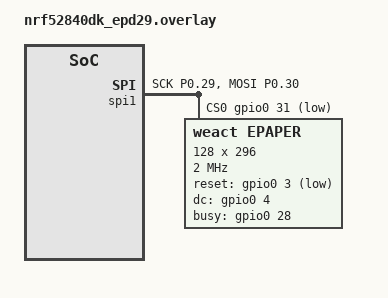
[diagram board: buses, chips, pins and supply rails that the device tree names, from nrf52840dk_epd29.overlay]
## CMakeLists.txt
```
# WeAct 2.9" E-Paper Test - nRF52840-DK
cmake_minimum_required(VERSION 3.20.0)

# Add driver to build
set(DRIVER_DIR ${CMAKE_CURRENT_SOURCE_DIR}/../../driver)

# Add custom device tree bindings path
list(APPEND DTS_ROOT ${CMAKE_CURRENT_SOURCE_DIR}/../..)

find_package(Zephyr REQUIRED HINTS $ENV{ZEPHYR_BASE})
project(epaper_29_nrf52840)

# Include driver headers
target_include_directories(app PRIVATE ${DRIVER_DIR}/include)

# Build driver sources
target_sources(app PRIVATE
    # Application
    src/main.c
    # Driver sources
    ${DRIVER_DIR}/src/weact_epaper.c
    ${DRIVER_DIR}/src/weact_epaper_paint.c
    ${DRIVER_DIR}/src/weact_epaper_font.c
)
```

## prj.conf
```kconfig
# WeAct 2.9" E-Paper Configuration

# Enable required drivers
CONFIG_SPI=y
CONFIG_GPIO=y

# Logging
CONFIG_LOG=y
CONFIG_LOG_MODE_IMMEDIATE=y
CONFIG_PRINTK=y
CONFIG_EARLY_CONSOLE=y

# Memory settings
CONFIG_MAIN_STACK_SIZE=8192
CONFIG_HEAP_MEM_POOL_SIZE=16384

# Optional: Enable debug logging
# CONFIG_LOG_DEFAULT_LEVEL=4

# SPI Configuration
CONFIG_SPI_INIT_PRIORITY=70
```

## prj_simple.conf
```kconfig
# Minimal configuration for e-paper reset test

# Enable SPI
CONFIG_SPI=y

# Enable GPIO
CONFIG_GPIO=y

# Enable logging
CONFIG_LOG=y
CONFIG_LOG_DEFAULT_LEVEL=3

# Stack sizes
CONFIG_MAIN_STACK_SIZE=4096
```

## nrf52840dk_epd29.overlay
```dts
/*
 * Copyright (c) 2025 WeAct Studio
 * SPDX-License-Identifier: Apache-2.0
 *
 * nRF52840-DK + WeAct 2.9" E-Paper Display (128x296)
 */

&pinctrl {
	spi1_default: spi1_default {
		group1 {
			psels = <NRF_PSEL(SPIM_SCK, 0, 29)>,
				<NRF_PSEL(SPIM_MOSI, 0, 30)>;
		};
	};

	spi1_sleep: spi1_sleep {
		group1 {
			psels = <NRF_PSEL(SPIM_SCK, 0, 29)>,
				<NRF_PSEL(SPIM_MOSI, 0, 30)>;
			low-power-enable;
		};
	};
};

&spi1 {
	compatible = "nordic,nrf-spim";
	status = "okay";
	pinctrl-0 = <&spi1_default>;
	pinctrl-1 = <&spi1_sleep>;
	pinctrl-names = "default", "sleep";
	cs-gpios = <&gpio0 31 GPIO_ACTIVE_LOW>;

	epaper: epaper@0 {
		compatible = "weact,epaper";
		reg = <0>;
		spi-max-frequency = <2000000>;
		reset-gpios = <&gpio0 3 GPIO_ACTIVE_LOW>;
		dc-gpios = <&gpio0 4 GPIO_ACTIVE_HIGH>;
		busy-gpios = <&gpio0 28 GPIO_ACTIVE_HIGH>;
		width = <128>;
		height = <296>;
		panel-type = <0>; /* EPD213_219 also supports 2.9" */
		color-mode = "bw";
	};
};
```

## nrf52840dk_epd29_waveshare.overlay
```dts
/*
 * Copyright (c) 2025 WeAct Studio
 * SPDX-License-Identifier: Apache-2.0
 *
 * nRF52840-DK + Waveshare E-Paper Shield (2.9" 128x296)
 * Using Arduino header pinout
 */

&pinctrl {
	spi1_default: spi1_default {
		group1 {
			psels = <NRF_PSEL(SPIM_SCK, 1, 15)>,   /* Arduino D13 */
				<NRF_PSEL(SPIM_MOSI, 1, 13)>,  /* Arduino D11 */
				<NRF_PSEL(SPIM_MISO, 1, 14)>;  /* Arduino D12 */
		};
	};

	spi1_sleep: spi1_sleep {
		group1 {
			psels = <NRF_PSEL(SPIM_SCK, 1, 15)>,
				<NRF_PSEL(SPIM_MOSI, 1, 13)>,
				<NRF_PSEL(SPIM_MISO, 1, 14)>;
			low-power-enable;
		};
	};
};

&spi1 {
	compatible = "nordic,nrf-spim";
	status = "okay";
	pinctrl-0 = <&spi1_default>;
	pinctrl-1 = <&spi1_sleep>;
	pinctrl-names = "default", "sleep";
	cs-gpios = <&gpio1 12 GPIO_ACTIVE_LOW>;  /* Arduino D10 */

	epaper: epaper@0 {
		compatible = "weact,epaper";
		reg = <0>;
		spi-max-frequency = <2000000>;
		reset-gpios = <&gpio1 10 GPIO_ACTIVE_LOW>;   /* Arduino D8 */
		dc-gpios = <&gpio1 11 GPIO_ACTIVE_HIGH>;     /* Arduino D9 */
		busy-gpios = <&gpio1 8 GPIO_ACTIVE_HIGH>;    /* Arduino D7 */
		width = <128>;
		height = <296>;
		panel-type = <0>; /* EPD213_219 - also supports 2.9" */
		color-mode = "bw";
	};
};
```

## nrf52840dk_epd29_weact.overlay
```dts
/*
 * Copyright (c) 2025 WeAct Studio
 * SPDX-License-Identifier: Apache-2.0
 *
 * nRF52840-DK + WeAct Studio 2.9" E-Paper Display (128x296)
 * Pin mapping for WeAct Studio display
 */

&pinctrl {
	spi1_default: spi1_default {
		group1 {
			psels = <NRF_PSEL(SPIM_SCK, 1, 15)>,   /* SCL - P1.15 */
				<NRF_PSEL(SPIM_MOSI, 1, 13)>,  /* SDA - P1.13 */
				<NRF_PSEL(SPIM_MISO, 1, 14)>;  /* MISO - P1.14 (not used) */
		};
	};

	spi1_sleep: spi1_sleep {
		group1 {
			psels = <NRF_PSEL(SPIM_SCK, 1, 15)>,
				<NRF_PSEL(SPIM_MOSI, 1, 13)>,
				<NRF_PSEL(SPIM_MISO, 1, 14)>;
			low-power-enable;
		};
	};
};

&spi1 {
	compatible = "nordic,nrf-spim";
	status = "okay";
	pinctrl-0 = <&spi1_default>;
	pinctrl-1 = <&spi1_sleep>;
	pinctrl-names = "default", "sleep";
	cs-gpios = <&gpio1 12 GPIO_ACTIVE_LOW>;  /* CS - P1.12 */

	epaper: epaper@0 {
		compatible = "weact,epaper";
		reg = <0>;
		spi-max-frequency = <2000000>;
		reset-gpios = <&gpio1 11 GPIO_ACTIVE_LOW>;   /* RES - P1.11 */
		dc-gpios = <&gpio1 10 GPIO_ACTIVE_HIGH>;     /* DC - P1.10 */
		busy-gpios = <&gpio1 8 GPIO_ACTIVE_HIGH>;    /* BUSY - P1.08 */
		width = <128>;
		height = <296>;
		panel-type = <0>; /* EPD213_219 - also supports 2.9" */
		color-mode = "bw";
	};
};
```

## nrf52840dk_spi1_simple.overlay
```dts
/*
 * Minimal SPI1 configuration for e-paper test
 * Just enables SPI1 on P1.x pins
 */

&pinctrl {
	spi1_default: spi1_default {
		group1 {
			psels = <NRF_PSEL(SPIM_SCK, 1, 15)>,   /* SCL - P1.15 */
				<NRF_PSEL(SPIM_MOSI, 1, 13)>;  /* SDA - P1.13 */
		};
	};

	spi1_sleep: spi1_sleep {
		group1 {
			psels = <NRF_PSEL(SPIM_SCK, 1, 15)>,
				<NRF_PSEL(SPIM_MOSI, 1, 13)>;
			low-power-enable;
		};
	};
};

&spi1 {
	compatible = "nordic,nrf-spim";
	status = "okay";
	pinctrl-0 = <&spi1_default>;
	pinctrl-1 = <&spi1_sleep>;
	pinctrl-names = "default", "sleep";
};
```

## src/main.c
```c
/*
 * WeAct Studio E-Paper Text Display Demo
 * Based on working Arduino port with corrected BUSY pin logic
 *
 * Display: 2.9" 3-Color (128x296 pixels, Black/White/Red)
 * Controller: UC8151D
 *
 * Supports dual RAM architecture:
 * - Register 0x24: Black/White RAM
 * - Register 0x26: Red RAM (inverted data to clear red pixels)
 */

#include <zephyr/kernel.h>
#include <zephyr/device.h>
#include <zephyr/drivers/gpio.h>
#include <zephyr/drivers/spi.h>
#include <zephyr/logging/log.h>
#include <string.h>

LOG_MODULE_REGISTER(epaper_text, LOG_LEVEL_DBG);

/* Pin Definitions - nRF52840-DK with WeAct Studio pins */
#define SPI1_NODE DT_NODELABEL(spi1)
#define RST_PIN  11  // P1.11
#define DC_PIN   10  // P1.10
#define CS_PIN   12  // P1.12
#define BUSY_PIN  8  // P1.08 - HIGH=busy, LOW=ready

/* Display dimensions for 2.9" */
#define EPD_WIDTH  128
#define EPD_HEIGHT 296

/* Frame buffer */
static uint8_t framebuffer[EPD_WIDTH * EPD_HEIGHT / 8];

/* Device handles */
static const struct device *spi_dev;
static const struct device *gpio1;
static struct spi_config spi_cfg;

/* Simple 5x7 ASCII font (characters 32-126) */
static const uint8_t font5x7[][5] = {
    {0x00, 0x00, 0x00, 0x00, 0x00}, // Space (32)
    {0x00, 0x00, 0x5F, 0x00, 0x00}, // !
    {0x00, 0x07, 0x00, 0x07, 0x00}, // "
    {0x14, 0x7F, 0x14, 0x7F, 0x14}, // #
    {0x24, 0x2A, 0x7F, 0x2A, 0x12}, // $
    {0x23, 0x13, 0x08, 0x64, 0x62}, // %
    {0x36, 0x49, 0x56, 0x20, 0x50}, // &
    {0x00, 0x08, 0x07, 0x03, 0x00}, // '
    {0x00, 0x1C, 0x22, 0x41, 0x00}, // (
    {0x00, 0x41, 0x22, 0x1C, 0x00}, // )
    {0x2A, 0x1C, 0x7F, 0x1C, 0x2A}, // *
    {0x08, 0x08, 0x3E, 0x08, 0x08}, // +
    {0x00, 0x80, 0x70, 0x30, 0x00}, // ,
    {0x08, 0x08, 0x08, 0x08, 0x08}, // -
    {0x00, 0x00, 0x60, 0x60, 0x00}, // .
    {0x20, 0x10, 0x08, 0x04, 0x02}, // /
    {0x3E, 0x51, 0x49, 0x45, 0x3E}, // 0
    {0x00, 0x42, 0x7F, 0x40, 0x00}, // 1
    {0x72, 0x49, 0x49, 0x49, 0x46}, // 2
    {0x21, 0x41, 0x49, 0x4D, 0x33}, // 3
    {0x18, 0x14, 0x12, 0x7F, 0x10}, // 4
    {0x27, 0x45, 0x45, 0x45, 0x39}, // 5
    {0x3C, 0x4A, 0x49, 0x49, 0x31}, // 6
    {0x41, 0x21, 0x11, 0x09, 0x07}, // 7
    {0x36, 0x49, 0x49, 0x49, 0x36}, // 8
    {0x46, 0x49, 0x49, 0x29, 0x1E}, // 9
    {0x00, 0x00, 0x14, 0x00, 0x00}, // :
    {0x00, 0x40, 0x34, 0x00, 0x00}, // ;
    {0x00, 0x08, 0x14, 0x22, 0x41}, // <
    {0x14, 0x14, 0x14, 0x14, 0x14}, // =
    {0x00, 0x41, 0x22, 0x14, 0x08}, // >
    {0x02, 0x01, 0x59, 0x09, 0x06}, // ?
    {0x3E, 0x41, 0x5D, 0x59, 0x4E}, // @
    {0x7C, 0x12, 0x11, 0x12, 0x7C}, // A
    {0x7F, 0x49, 0x49, 0x49, 0x36}, // B
    {0x3E, 0x41, 0x41, 0x41, 0x22}, // C
    {0x7F, 0x41, 0x41, 0x41, 0x3E}, // D
    {0x7F, 0x49, 0x49, 0x49, 0x41}, // E
    {0x7F, 0x09, 0x09, 0x09, 0x01}, // F
    {0x3E, 0x41, 0x41, 0x51, 0x73}, // G
    {0x7F, 0x08, 0x08, 0x08, 0x7F}, // H
    {0x00, 0x41, 0x7F, 0x41, 0x00}, // I
    {0x20, 0x40, 0x41, 0x3F, 0x01}, // J
    {0x7F, 0x08, 0x14, 0x22, 0x41}, // K
    {0x7F, 0x40, 0x40, 0x40, 0x40}, // L
    {0x7F, 0x02, 0x1C, 0x02, 0x7F}, // M
    {0x7F, 0x04, 0x08, 0x10, 0x7F}, // N
    {0x3E, 0x41, 0x41, 0x41, 0x3E}, // O
    {0x7F, 0x09, 0x09, 0x09, 0x06}, // P
    {0x3E, 0x41, 0x51, 0x21, 0x5E}, // Q
    {0x7F, 0x09, 0x19, 0x29, 0x46}, // R
    {0x26, 0x49, 0x49, 0x49, 0x32}, // S
    {0x03, 0x01, 0x7F, 0x01, 0x03}, // T
    {0x3F, 0x40, 0x40, 0x40, 0x3F}, // U
    {0x1F, 0x20, 0x40, 0x20, 0x1F}, // V
    {0x3F, 0x40, 0x38, 0x40, 0x3F}, // W
    {0x63, 0x14, 0x08, 0x14, 0x63}, // X
    {0x03, 0x04, 0x78, 0x04, 0x03}, // Y
    {0x61, 0x59, 0x49, 0x4D, 0x43}, // Z
    {0x00, 0x7F, 0x41, 0x41, 0x41}, // [
    {0x02, 0x04, 0x08, 0x10, 0x20}, // backslash
    {0x00, 0x41, 0x41, 0x41, 0x7F}, // ]
    {0x04, 0x02, 0x01, 0x02, 0x04}, // ^
    {0x40, 0x40, 0x40, 0x40, 0x40}, // _
};

/* Hardware control functions */
void write_cmd(uint8_t cmd)
{
    gpio_pin_set(gpio1, DC_PIN, 0);  // Command mode
    struct spi_buf tx_buf = {.buf = &cmd, .len = 1};
    struct spi_buf_set tx = {.buffers = &tx_buf, .count = 1};
    spi_write(spi_dev, &spi_cfg, &tx);
}

void write_data(uint8_t data)
{
    gpio_pin_set(gpio1, DC_PIN, 1);  // Data mode
    struct spi_buf tx_buf = {.buf = &data, .len = 1};
    struct spi_buf_set tx = {.buffers = &tx_buf, .count = 1};
    spi_write(spi_dev, &spi_cfg, &tx);
}

void write_data_buf(const uint8_t *data, size_t len)
{
    gpio_pin_set(gpio1, DC_PIN, 1);  // Data mode
    struct spi_buf tx_buf = {.buf = (void*)data, .len = len};
    struct spi_buf_set tx = {.buffers = &tx_buf, .count = 1};
    spi_write(spi_dev, &spi_cfg, &tx);
}

/* Wait for BUSY pin: HIGH=busy, LOW=ready */
bool wait_busy(uint32_t timeout_ms)
{
    uint32_t count = 0;
    /* Wait while BUSY is HIGH */
    while (gpio_pin_get(gpio1, BUSY_PIN) == 1) {
        k_msleep(10);
        count += 10;
        if (count > timeout_ms) {
            LOG_ERR("BUSY timeout after %d ms", count);
            return false;
        }
    }
    LOG_DBG("BUSY cleared after %d ms", count);
    return true;
}

void reset_display(void)
{
    LOG_INF("Resetting display...");
    gpio_pin_set(gpio1, RST_PIN, 1);
    k_msleep(20);
    gpio_pin_set(gpio1, RST_PIN, 0);
    k_msleep(2);
    gpio_pin_set(gpio1, RST_PIN, 1);
    k_msleep(20);
}

/* Initialize display - Full WeAct Studio sequence for 2.9" */
bool init_display(void)
{
    LOG_INF("Initializing WeAct Studio 2.9\" display...");

    reset_display();

    /* NOTE: Don't wait for BUSY here - display may not assert BUSY until
     * we send the first command via SPI */

    /* Software reset */
    write_cmd(0x12);
    k_msleep(10);
    LOG_INF("Waiting for display after software reset...");
    if (!wait_busy(5000)) {
        LOG_ERR("Display not ready after software reset");
        return false;
    }

    /* Driver output control - 296 lines for 2.9" */
    write_cmd(0x01);
    write_data((296 - 1) & 0xFF);       // MUX low
    write_data(((296 - 1) >> 8) & 0xFF); // MUX high
    write_data(0x00);                    // GD=0, SM=0, TB=0

    /* Booster Soft Start */
    write_cmd(0x0C);
    write_data(0xD7);
    write_data(0xD6);
    write_data(0x9D);

    /* VCOM register */
    write_cmd(0x2C);
    write_data(0xA8);

    /* Set dummy line period */
    write_cmd(0x3A);
    write_data(0x1A);

    /* Set gate time */
    write_cmd(0x3B);
    write_data(0x08);

    /* Data entry mode: X increment, Y increment */
    write_cmd(0x11);
    write_data(0x03);

    /* Set RAM X start/end */
    write_cmd(0x44);
    write_data(0x00);               // X start = 0
    write_data((EPD_WIDTH / 8) - 1); // X end

    /* Set RAM Y start/end */
    write_cmd(0x45);
    write_data(0x00);               // Y start low
    write_data(0x00);               // Y start high
    write_data((EPD_HEIGHT - 1) & 0xFF);      // Y end low
    write_data(((EPD_HEIGHT - 1) >> 8) & 0xFF); // Y end high

    /* Border waveform */
    write_cmd(0x3C);
    write_data(0x03);

    /* Temperature sensor control */
    write_cmd(0x18);
    write_data(0x80);

    /* Display update control */
    write_cmd(0x22);
    write_data(0xB1);
    write_cmd(0x20);
    if (!wait_busy(5000)) return false;

    /* Set RAM X counter */
    write_cmd(0x4E);
    write_data(0x00);

    /* Set RAM Y counter */
    write_cmd(0x4F);
    write_data(0x00);
    write_data(0x00);

    if (!wait_busy(5000)) return false;

    LOG_INF("✓ Display initialized successfully");
    return true;
}

/* Graphics functions */
void clear_buffer(uint8_t color)
{
    memset(framebuffer, color, sizeof(framebuffer));
}

void set_pixel(int x, int y, uint8_t color)
{
    if (x < 0 || x >= EPD_WIDTH || y < 0 || y >= EPD_HEIGHT) {
        return;
    }

    int byte_index = (y * EPD_WIDTH + x) / 8;
    int bit_index = 7 - (x % 8);

    if (color) {
        framebuffer[byte_index] |= (1 << bit_index);  // Black
    } else {
        framebuffer[byte_index] &= ~(1 << bit_index); // White
    }
}

/* Draw a character at position (x, y) */
void draw_char(int x, int y, char c, uint8_t color, uint8_t size)
{
    if (c < 32 || c > 95) {
        c = 32; // Replace invalid chars with space
    }

    const uint8_t *glyph = font5x7[c - 32];

    for (int col = 0; col < 5; col++) {
        uint8_t line = glyph[col];
        for (int row = 0; row < 7; row++) {
            if (line & (1 << row)) {
                // Draw pixel(s) based on size
                for (int sx = 0; sx < size; sx++) {
                    for (int sy = 0; sy < size; sy++) {
                        set_pixel(x + col * size + sx, y + row * size + sy, color);
                    }
                }
            }
        }
    }
}

/* Draw a string at position (x, y) */
void draw_string(int x, int y, const char *str, uint8_t color, uint8_t size)
{
    int cursor_x = x;
    int cursor_y = y;

    while (*str) {
        if (*str == '\n') {
            cursor_y += 8 * size;
            cursor_x = x;
        } else {
            draw_char(cursor_x, cursor_y, *str, color, size);
            cursor_x += 6 * size;  // 5 pixels + 1 space

            // Wrap to next line if needed
            if (cursor_x + 6 * size > EPD_WIDTH) {
                cursor_y += 8 * size;
                cursor_x = x;
            }
        }
        str++;
    }
}

/* Draw a rectangle */
void draw_rect(int x, int y, int w, int h, uint8_t color)
{
    for (int i = 0; i < w; i++) {
        set_pixel(x + i, y, color);
        set_pixel(x + i, y + h - 1, color);
    }
    for (int i = 0; i < h; i++) {
        set_pixel(x, y + i, color);
        set_pixel(x + w - 1, y + i, color);
    }
}

/* Fill a rectangle */
void fill_rect(int x, int y, int w, int h, uint8_t color)
{
    for (int j = 0; j < h; j++) {
        for (int i = 0; i < w; i++) {
            set_pixel(x + i, y + j, color);
        }
    }
}

/* Update display with framebuffer contents */
bool update_display(void)
{
    LOG_INF("Updating display...");

    /* Set RAM X counter */
    write_cmd(0x4E);
    write_data(0x00);

    /* Set RAM Y counter */
    write_cmd(0x4F);
    write_data(0x00);
    write_data(0x00);

    /* Write RAM (black/white) */
    write_cmd(0x24);
    write_data_buf(framebuffer, sizeof(framebuffer));

    /* Reset RAM position for red channel */
    write_cmd(0x4E);
    write_data(0x00);

    write_cmd(0x4F);
    write_data(0x00);
    write_data(0x00);

    /* Write RAM (red) - Clear all red pixels for text display */
    write_cmd(0x26);
    /* For 3-color display: Write inverted framebuffer to clear red channel */
    gpio_pin_set(gpio1, DC_PIN, 1);  // Data mode
    for (size_t i = 0; i < sizeof(framebuffer); i++) {
        uint8_t inverted = ~framebuffer[i];
        struct spi_buf tx_buf = {.buf = &inverted, .len = 1};
        struct spi_buf_set tx = {.buffers = &tx_buf, .count = 1};
        spi_write(spi_dev, &spi_cfg, &tx);
    }

    /* Display update sequence */
    write_cmd(0x22);
    write_data(0xF7);
    write_cmd(0x20);

    if (!wait_busy(10000)) {
        LOG_ERR("Display update timeout");
        return false;
    }

    LOG_INF("✓ Display updated successfully!");
    return true;
}

/* Enter deep sleep mode */
void sleep_display(void)
{
    write_cmd(0x10);
    write_data(0x01);
    k_msleep(100);
}

int main(void)
{
    LOG_INF("═══════════════════════════════════════");
    LOG_INF("  WeAct Studio E-Paper Text Demo");
    LOG_INF("  2.9\" Display (128x296 pixels)");
    LOG_INF("═══════════════════════════════════════");

    /* Initialize GPIO */
    gpio1 = DEVICE_DT_GET(DT_NODELABEL(gpio1));
    if (!device_is_ready(gpio1)) {
        LOG_ERR("GPIO1 device not ready");
        return -1;
    }

    gpio_pin_configure(gpio1, RST_PIN, GPIO_OUTPUT_ACTIVE);
    gpio_pin_configure(gpio1, DC_PIN, GPIO_OUTPUT_INACTIVE);
    gpio_pin_configure(gpio1, CS_PIN, GPIO_OUTPUT_INACTIVE);
    gpio_pin_configure(gpio1, BUSY_PIN, GPIO_INPUT);

    /* Initialize SPI */
    spi_dev = DEVICE_DT_GET(DT_NODELABEL(spi1));
    if (!device_is_ready(spi_dev)) {
        LOG_ERR("SPI device not ready");
        return -1;
    }

    spi_cfg.frequency = 2000000;  // 2 MHz
    spi_cfg.operation = SPI_OP_MODE_MASTER | SPI_TRANSFER_MSB |
                        SPI_WORD_SET(8) | SPI_LINES_SINGLE;

    LOG_INF("Hardware initialized");

    /* Initialize display */
    if (!init_display()) {
        LOG_ERR("Display initialization failed!");
        return -1;
    }

    /* Test 1: Simple text */
    LOG_INF("\n--- Test 1: Simple text ---");
    clear_buffer(0xFF);  // White background
    draw_string(10, 10, "Hello World!", 0, 1);  // Black text, size 1
    draw_string(10, 25, "WeAct Studio", 0, 1);
    draw_string(10, 40, "E-Paper 2.9\"", 0, 1);
    update_display();
    k_msleep(3000);

    /* Test 2: Different sizes */
    LOG_INF("\n--- Test 2: Text sizes ---");
    clear_buffer(0xFF);
    draw_string(5, 10, "Size 1", 0, 1);
    draw_string(5, 30, "Size 2", 0, 2);
    draw_string(5, 60, "Size 3", 0, 3);
    update_display();
    k_msleep(3000);

    /* Test 3: Mixed content */
    LOG_INF("\n--- Test 3: Mixed graphics ---");
    clear_buffer(0xFF);

    // Title
    draw_string(15, 10, "Zephyr RTOS", 0, 2);

    // Box
    draw_rect(10, 45, 108, 60, 0);

    // Info text
    draw_string(15, 50, "nRF52840-DK", 0, 1);
    draw_string(15, 65, "UC8151D", 0, 1);
    draw_string(15, 80, "128 x 296", 0, 1);
    draw_string(15, 95, "2.9 inch", 0, 1);

    // Status
    fill_rect(10, 120, 108, 20, 0);
    draw_string(15, 125, "READY", 1, 2);  // White text on black

    update_display();
    k_msleep(5000);

    /* Test 4: Counter demo */
    LOG_INF("\n--- Test 4: Counter ---");
    for (int i = 0; i <= 10; i++) {
        clear_buffer(0xFF);
        draw_string(20, 50, "Counter:", 0, 2);

        char num[16];
        snprintf(num, sizeof(num), "%d", i);
        draw_string(40, 80, num, 0, 3);

        update_display();
        k_msleep(1000);
    }

    /* Test 5: Full alphabet */
    LOG_INF("\n--- Test 5: Alphabet ---");
    clear_buffer(0xFF);
    draw_string(5, 5, "ABCDEFGHIJKLM", 0, 1);
    draw_string(5, 15, "NOPQRSTUVWXYZ", 0, 1);
    draw_string(5, 30, "abcdefghijklm", 0, 1);
    draw_string(5, 40, "nopqrstuvwxyz", 0, 1);
    draw_string(5, 55, "0123456789", 0, 1);
    draw_string(5, 70, "!@#$%^&*()", 0, 1);
    update_display();
    k_msleep(5000);

    /* Sleep display */
    LOG_INF("\nEntering deep sleep...");
    sleep_display();

    LOG_INF("\n═══════════════════════════════════════");
    LOG_INF("  ALL TEXT TESTS COMPLETE!");
    LOG_INF("═══════════════════════════════════════");

    return 0;
}
```

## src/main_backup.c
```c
/*
 * WeAct 2.9" E-Paper Display Test for nRF52840-DK
 * Display: 128x296 pixels, Black & White
 */

#include <zephyr/kernel.h>
#include <zephyr/device.h>
#include <zephyr/logging/log.h>
#include <string.h>
#include "weact_epaper.h"

LOG_MODULE_REGISTER(epaper_test, LOG_LEVEL_INF);

#define EPAPER_NODE DT_NODELABEL(epaper)
#define DISPLAY_WIDTH  128
#define DISPLAY_HEIGHT 296
#define WIDTH_BYTE     ((DISPLAY_WIDTH % 8 == 0) ? (DISPLAY_WIDTH / 8) : (DISPLAY_WIDTH / 8 + 1))
#define BUFFER_SIZE    (WIDTH_BYTE * DISPLAY_HEIGHT)

static const struct device *epaper_dev = DEVICE_DT_GET(EPAPER_NODE);
static uint8_t display_buffer[BUFFER_SIZE];

void test_display_info(void)
{
	LOG_INF("========================================");
	LOG_INF("WeAct 2.9\" E-Paper Display Test");
	LOG_INF("========================================");
	LOG_INF("Board: nRF52840-DK");
	LOG_INF("Display: 128x296 pixels");
	LOG_INF("Buffer size: %d bytes", BUFFER_SIZE);
	LOG_INF("========================================\n");
}

void test_clear_display(void)
{
	LOG_INF("[TEST 1] Clearing display to WHITE...");
	epd_clear(epaper_dev, EPD_COLOR_WHITE);
	LOG_INF("✓ Display cleared\n");
	k_sleep(K_SECONDS(2));
}

void test_draw_border(void)
{
	LOG_INF("[TEST 2] Drawing border...");

	epd_paint_newimage(epaper_dev, display_buffer, DISPLAY_WIDTH, DISPLAY_HEIGHT,
	                   EPD_ROTATE_0, EPD_COLOR_WHITE);
	epd_paint_clear(epaper_dev, EPD_COLOR_WHITE);

	/* Draw border rectangle */
	epd_paint_draw_rectangle(epaper_dev, 0, 0, DISPLAY_WIDTH-1, DISPLAY_HEIGHT-1,
	                         EPD_COLOR_BLACK, 0);
	epd_paint_draw_rectangle(epaper_dev, 2, 2, DISPLAY_WIDTH-3, DISPLAY_HEIGHT-3,
	                         EPD_COLOR_BLACK, 0);

	epd_display_bw(epaper_dev, display_buffer);
	epd_update(epaper_dev);
	LOG_INF("✓ Border drawn\n");
	k_sleep(K_SECONDS(2));
}

void test_display_text(void)
{
	LOG_INF("[TEST 3] Displaying text...");

	epd_paint_newimage(epaper_dev, display_buffer, DISPLAY_WIDTH, DISPLAY_HEIGHT,
	                   EPD_ROTATE_0, EPD_COLOR_WHITE);
	epd_paint_clear(epaper_dev, EPD_COLOR_WHITE);

	/* Title */
	epd_paint_show_string(epaper_dev, 10, 10, "WeAct Studio",
	                      EPD_FONT_SIZE8x6, EPD_COLOR_BLACK);
	epd_paint_show_string(epaper_dev, 10, 25, "2.9\" E-Paper",
	                      EPD_FONT_SIZE8x6, EPD_COLOR_BLACK);

	/* Display info */
	epd_paint_draw_line(epaper_dev, 5, 45, DISPLAY_WIDTH-5, 45, EPD_COLOR_BLACK);

	epd_paint_show_string(epaper_dev, 10, 55, "Size: 128x296",
	                      EPD_FONT_SIZE8x6, EPD_COLOR_BLACK);
	epd_paint_show_string(epaper_dev, 10, 70, "Board: nRF52840",
	                      EPD_FONT_SIZE8x6, EPD_COLOR_BLACK);
	epd_paint_show_string(epaper_dev, 10, 85, "Status: OK",
	                      EPD_FONT_SIZE8x6, EPD_COLOR_BLACK);

	/* Test pattern */
	epd_paint_draw_line(epaper_dev, 5, 105, DISPLAY_WIDTH-5, 105, EPD_COLOR_BLACK);
	epd_paint_show_string(epaper_dev, 10, 115, "Test Pattern:",
	                      EPD_FONT_SIZE8x6, EPD_COLOR_BLACK);

	/* Draw some shapes */
	epd_paint_draw_circle(epaper_dev, 30, 150, 15, EPD_COLOR_BLACK, 0);
	epd_paint_draw_rectangle(epaper_dev, 60, 135, 90, 165, EPD_COLOR_BLACK, 1);
	epd_paint_draw_line(epaper_dev, 10, 190, 118, 210, EPD_COLOR_BLACK);

	/* Footer */
	epd_paint_show_string(epaper_dev, 10, 270, "Zephyr RTOS",
	                      EPD_FONT_SIZE8x6, EPD_COLOR_BLACK);

	epd_display_bw(epaper_dev, display_buffer);
	epd_update(epaper_dev);
	LOG_INF("✓ Text displayed\n");
	k_sleep(K_SECONDS(3));
}

void test_checkerboard(void)
{
	LOG_INF("[TEST 4] Drawing checkerboard pattern...");

	epd_paint_newimage(epaper_dev, display_buffer, DISPLAY_WIDTH, DISPLAY_HEIGHT,
	                   EPD_ROTATE_0, EPD_COLOR_WHITE);
	epd_paint_clear(epaper_dev, EPD_COLOR_WHITE);

	int square_size = 16;
	for (int y = 0; y < DISPLAY_HEIGHT; y += square_size) {
		for (int x = 0; x < DISPLAY_WIDTH; x += square_size) {
			uint16_t color = ((x/square_size + y/square_size) % 2) ?
			                 EPD_COLOR_BLACK : EPD_COLOR_WHITE;
			int x_end = (x + square_size - 1 < DISPLAY_WIDTH) ?
			            x + square_size - 1 : DISPLAY_WIDTH - 1;
			int y_end = (y + square_size - 1 < DISPLAY_HEIGHT) ?
			            y + square_size - 1 : DISPLAY_HEIGHT - 1;
			epd_paint_draw_rectangle(epaper_dev, x, y, x_end, y_end, color, 1);
		}
	}

	epd_display_bw(epaper_dev, display_buffer);
	epd_update(epaper_dev);
	LOG_INF("✓ Checkerboard drawn\n");
	k_sleep(K_SECONDS(3));
}

void test_fast_refresh(void)
{
	LOG_INF("[TEST 5] Testing fast refresh mode...");

	int ret = epd_init_fast(epaper_dev);
	if (ret) {
		LOG_ERR("Failed to init fast refresh mode: %d", ret);
		return;
	}

	for (int count = 1; count <= 5; count++) {
		epd_paint_newimage(epaper_dev, display_buffer, DISPLAY_WIDTH, DISPLAY_HEIGHT,
		                   EPD_ROTATE_0, EPD_COLOR_WHITE);
		epd_paint_clear(epaper_dev, EPD_COLOR_WHITE);

		epd_paint_show_string(epaper_dev, 10, 10, "Fast Refresh",
		                      EPD_FONT_SIZE8x6, EPD_COLOR_BLACK);

		char count_str[32];
		snprintf(count_str, sizeof(count_str), "Count: %d / 5", count);
		epd_paint_show_string(epaper_dev, 10, 30, count_str,
		                      EPD_FONT_SIZE8x6, EPD_COLOR_BLACK);

		/* Progress bar */
		int bar_width = (count * 100) / 5;
		epd_paint_draw_rectangle(epaper_dev, 10, 50, 10+bar_width, 60,
		                         EPD_COLOR_BLACK, 1);
		epd_paint_draw_rectangle(epaper_dev, 10, 50, 110, 60,
		                         EPD_COLOR_BLACK, 0);

		epd_display_bw_fast(epaper_dev, display_buffer);
		epd_update_fast(epaper_dev);

		LOG_INF("  Fast refresh %d/5", count);
		k_sleep(K_MSEC(800));
	}

	LOG_INF("✓ Fast refresh test complete\n");
	k_sleep(K_SECONDS(2));
}

int main(void)
{
	int ret;

	test_display_info();

	/* Check if device is ready */
	if (!device_is_ready(epaper_dev)) {
		LOG_ERR("❌ E-Paper device not ready!");
		return -ENODEV;
	}
	LOG_INF("✓ E-Paper device is ready\n");

	/* Initialize display */
	LOG_INF("Initializing 2.9\" E-Paper display...");
	ret = epd_init(epaper_dev);
	if (ret) {
		LOG_ERR("❌ Failed to initialize display: %d", ret);
		return ret;
	}
	LOG_INF("✓ Display initialized successfully\n");
	k_sleep(K_SECONDS(1));

	/* Run test sequence */
	while (1) {
		LOG_INF("\n╔══════════════════════════════════════╗");
		LOG_INF("║  Starting Test Sequence              ║");
		LOG_INF("╚══════════════════════════════════════╝\n");

		test_clear_display();
		test_draw_border();
		test_display_text();
		test_checkerboard();
		test_fast_refresh();

		/* Final clear and sleep */
		LOG_INF("[DONE] All tests complete!");
		LOG_INF("Clearing display and entering deep sleep...\n");
		epd_clear(epaper_dev, EPD_COLOR_WHITE);
		epd_enter_deepsleepmode(epaper_dev, EPD_DEEPSLEEP_MODE1);

		LOG_INF("━━━━━━━━━━━━━━━━━━━━━━━━━━━━━━━━━━━━━━");
		LOG_INF("Test sequence complete. Waiting 10s...");
		LOG_INF("━━━━━━━━━━━━━━━━━━━━━━━━━━━━━━━━━━━━━━\n");
		k_sleep(K_SECONDS(10));

		/* Re-initialize for next cycle */
		ret = epd_init(epaper_dev);
		if (ret) {
			LOG_ERR("❌ Failed to re-initialize: %d", ret);
			return ret;
		}
	}

	return 0;
}
```

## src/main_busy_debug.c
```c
/*
 * BUSY Pin Diagnostic - Debug why BUSY times out after reset
 */

#include <zephyr/kernel.h>
#include <zephyr/device.h>
#include <zephyr/drivers/gpio.h>
#include <zephyr/logging/log.h>

LOG_MODULE_REGISTER(busy_debug, LOG_LEVEL_INF);

/* Pin Definitions */
#define RST_PIN  11  // P1.11
#define BUSY_PIN  8  // P1.08

static const struct device *gpio1;

int main(void)
{
    LOG_INF("═══════════════════════════════════════");
    LOG_INF("  BUSY Pin Diagnostic Tool");
    LOG_INF("═══════════════════════════════════════");

    /* Initialize GPIO */
    gpio1 = DEVICE_DT_GET(DT_NODELABEL(gpio1));
    if (!device_is_ready(gpio1)) {
        LOG_ERR("GPIO1 device not ready");
        return -1;
    }

    /* Configure pins */
    gpio_pin_configure(gpio1, RST_PIN, GPIO_OUTPUT_ACTIVE);

    /* Try BUSY with pull-up first */
    LOG_INF("\n--- Test 1: BUSY with PULL-UP ---");
    gpio_pin_configure(gpio1, BUSY_PIN, GPIO_INPUT | GPIO_PULL_UP);
    k_msleep(100);

    int busy_state = gpio_pin_get(gpio1, BUSY_PIN);
    LOG_INF("BUSY initial state (with pull-up): %s", busy_state ? "HIGH" : "LOW");

    /* Reset display */
    LOG_INF("Toggling RESET...");
    gpio_pin_set(gpio1, RST_PIN, 1);
    k_msleep(20);
    busy_state = gpio_pin_get(gpio1, BUSY_PIN);
    LOG_INF("  RST=HIGH, BUSY=%s", busy_state ? "HIGH" : "LOW");

    gpio_pin_set(gpio1, RST_PIN, 0);
    k_msleep(2);
    busy_state = gpio_pin_get(gpio1, BUSY_PIN);
    LOG_INF("  RST=LOW,  BUSY=%s", busy_state ? "HIGH" : "LOW");

    gpio_pin_set(gpio1, RST_PIN, 1);
    k_msleep(20);
    busy_state = gpio_pin_get(gpio1, BUSY_PIN);
    LOG_INF("  RST=HIGH, BUSY=%s", busy_state ? "HIGH" : "LOW");

    /* Monitor BUSY for 10 seconds */
    LOG_INF("\nMonitoring BUSY for 10 seconds...");
    int last_state = -1;
    for (int i = 0; i < 100; i++) {
        busy_state = gpio_pin_get(gpio1, BUSY_PIN);
        if (busy_state != last_state) {
            LOG_INF("  [%d ms] BUSY changed to %s", i * 100, busy_state ? "HIGH" : "LOW");
            last_state = busy_state;
        }
        k_msleep(100);
    }

    /* Try BUSY with pull-down */
    LOG_INF("\n--- Test 2: BUSY with PULL-DOWN ---");
    gpio_pin_configure(gpio1, BUSY_PIN, GPIO_INPUT | GPIO_PULL_DOWN);
    k_msleep(100);

    busy_state = gpio_pin_get(gpio1, BUSY_PIN);
    LOG_INF("BUSY initial state (with pull-down): %s", busy_state ? "HIGH" : "LOW");

    /* Reset display */
    LOG_INF("Toggling RESET...");
    gpio_pin_set(gpio1, RST_PIN, 1);
    k_msleep(20);
    busy_state = gpio_pin_get(gpio1, BUSY_PIN);
    LOG_INF("  RST=HIGH, BUSY=%s", busy_state ? "HIGH" : "LOW");

    gpio_pin_set(gpio1, RST_PIN, 0);
    k_msleep(2);
    busy_state = gpio_pin_get(gpio1, BUSY_PIN);
    LOG_INF("  RST=LOW,  BUSY=%s", busy_state ? "HIGH" : "LOW");

    gpio_pin_set(gpio1, RST_PIN, 1);
    k_msleep(20);
    busy_state = gpio_pin_get(gpio1, BUSY_PIN);
    LOG_INF("  RST=HIGH, BUSY=%s", busy_state ? "HIGH" : "LOW");

    /* Monitor BUSY for 10 seconds */
    LOG_INF("\nMonitoring BUSY for 10 seconds...");
    last_state = -1;
    for (int i = 0; i < 100; i++) {
        busy_state = gpio_pin_get(gpio1, BUSY_PIN);
        if (busy_state != last_state) {
            LOG_INF("  [%d ms] BUSY changed to %s", i * 100, busy_state ? "HIGH" : "LOW");
            last_state = busy_state;
        }
        k_msleep(100);
    }

    /* Try BUSY without pull resistor */
    LOG_INF("\n--- Test 3: BUSY without pull resistor ---");
    gpio_pin_configure(gpio1, BUSY_PIN, GPIO_INPUT);
    k_msleep(100);

    busy_state = gpio_pin_get(gpio1, BUSY_PIN);
    LOG_INF("BUSY initial state (no pull): %s", busy_state ? "HIGH" : "LOW");

    /* Reset display */
    LOG_INF("Toggling RESET...");
    gpio_pin_set(gpio1, RST_PIN, 1);
    k_msleep(20);
    busy_state = gpio_pin_get(gpio1, BUSY_PIN);
    LOG_INF("  RST=HIGH, BUSY=%s", busy_state ? "HIGH" : "LOW");

    gpio_pin_set(gpio1, RST_PIN, 0);
    k_msleep(2);
    busy_state = gpio_pin_get(gpio1, BUSY_PIN);
    LOG_INF("  RST=LOW,  BUSY=%s", busy_state ? "HIGH" : "LOW");

    gpio_pin_set(gpio1, RST_PIN, 1);
    k_msleep(20);
    busy_state = gpio_pin_get(gpio1, BUSY_PIN);
    LOG_INF("  RST=HIGH, BUSY=%s", busy_state ? "HIGH" : "LOW");

    /* Monitor BUSY for 10 seconds */
    LOG_INF("\nMonitoring BUSY for 10 seconds...");
    last_state = -1;
    for (int i = 0; i < 100; i++) {
        busy_state = gpio_pin_get(gpio1, BUSY_PIN);
        if (busy_state != last_state) {
            LOG_INF("  [%d ms] BUSY changed to %s", i * 100, busy_state ? "HIGH" : "LOW");
            last_state = busy_state;
        }
        k_msleep(100);
    }

    LOG_INF("\n═══════════════════════════════════════");
    LOG_INF("  Diagnostic Complete!");
    LOG_INF("═══════════════════════════════════════");
    LOG_INF("\nLooking at the results:");
    LOG_INF("  - If BUSY stays LOW forever = Need to send SPI commands first");
    LOG_INF("  - If BUSY goes HIGH after reset = Pull resistor might help");
    LOG_INF("  - If BUSY toggles = Display is responding normally");

    return 0;
}
```

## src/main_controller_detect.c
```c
/*
 * E-Paper Controller Detection Tool
 * Tests UC8151D, SSD1680, and IL0373 controllers to find which one works
 */

#include <zephyr/kernel.h>
#include <zephyr/drivers/gpio.h>
#include <zephyr/drivers/spi.h>
#include <zephyr/logging/log.h>

LOG_MODULE_REGISTER(controller_detect, LOG_LEVEL_INF);

/* Pin definitions */
#define GPIO1_NODE DT_NODELABEL(gpio1)
#define SPI1_NODE DT_NODELABEL(spi1)

#define RES_PIN    11  /* P1.11 */
#define DC_PIN     10  /* P1.10 */
#define BUSY_PIN   8   /* P1.08 */
#define CS_PIN     12  /* P1.12 */

static const struct device *gpio1;
static const struct device *spi1;

struct spi_config spi_cfg = {
	.frequency = 2000000,
	.operation = SPI_OP_MODE_MASTER | SPI_TRANSFER_MSB | SPI_WORD_SET(8),
	.slave = 0,
};

/* SPI helper functions */
void spi_write_cmd(uint8_t cmd)
{
	gpio_pin_set(gpio1, DC_PIN, 0);  /* Command mode */
	gpio_pin_set(gpio1, CS_PIN, 0);

	struct spi_buf tx_buf = { .buf = &cmd, .len = 1 };
	struct spi_buf_set tx = { .buffers = &tx_buf, .count = 1 };
	spi_write(spi1, &spi_cfg, &tx);

	gpio_pin_set(gpio1, CS_PIN, 1);
}

void spi_write_data(uint8_t data)
{
	gpio_pin_set(gpio1, DC_PIN, 1);  /* Data mode */
	gpio_pin_set(gpio1, CS_PIN, 0);

	struct spi_buf tx_buf = { .buf = &data, .len = 1 };
	struct spi_buf_set tx = { .buffers = &tx_buf, .count = 1 };
	spi_write(spi1, &spi_cfg, &tx);

	gpio_pin_set(gpio1, CS_PIN, 1);
}

void spi_write_data_buf(uint8_t *data, uint32_t len)
{
	gpio_pin_set(gpio1, DC_PIN, 1);  /* Data mode */
	gpio_pin_set(gpio1, CS_PIN, 0);

	struct spi_buf tx_buf = { .buf = data, .len = len };
	struct spi_buf_set tx = { .buffers = &tx_buf, .count = 1 };
	spi_write(spi1, &spi_cfg, &tx);

	gpio_pin_set(gpio1, CS_PIN, 1);
}

bool wait_busy(uint32_t timeout_ms)
{
	uint32_t count = 0;
	while (gpio_pin_get(gpio1, BUSY_PIN)) {
		k_msleep(10);
		count += 10;
		if (count > timeout_ms) {
			LOG_ERR("  Timeout waiting for BUSY");
			return false;
		}
	}
	LOG_INF("  BUSY cleared after %d ms", count);
	return true;
}

void hardware_reset(void)
{
	LOG_INF("  Performing hardware reset...");
	gpio_pin_set(gpio1, RES_PIN, 0);
	k_msleep(200);
	gpio_pin_set(gpio1, RES_PIN, 1);
	k_msleep(200);
}

/* ═══════════════════════════════════════════════════════════════════
 * UC8151D Controller Test (WeAct 2.9" common controller)
 * ═══════════════════════════════════════════════════════════════════ */
bool test_uc8151d(void)
{
	LOG_INF("╔════════════════════════════════════════════════════════╗");
	LOG_INF("║ TEST 1: UC8151D Controller                            ║");
	LOG_INF("╚════════════════════════════════════════════════════════╝");
	LOG_INF("");

	hardware_reset();

	LOG_INF("Sending UC8151D initialization sequence...");

	/* Software reset */
	spi_write_cmd(0x12);
	k_msleep(10);
	if (!wait_busy(2000)) return false;

	/* Driver output control */
	spi_write_cmd(0x01);
	spi_write_data(0x27);  /* 296 lines */
	spi_write_data(0x01);
	spi_write_data(0x00);

	/* Data entry mode */
	spi_write_cmd(0x11);
	spi_write_data(0x03);  /* X increment, Y increment */

	/* Set RAM X address */
	spi_write_cmd(0x44);
	spi_write_data(0x00);
	spi_write_data(0x0F);  /* 0-15 (128 pixels / 8) */

	/* Set RAM Y address */
	spi_write_cmd(0x45);
	spi_write_data(0x00);
	spi_write_data(0x00);
	spi_write_data(0x27);  /* 296 lines */
	spi_write_data(0x01);

	/* Border waveform */
	spi_write_cmd(0x3C);
	spi_write_data(0x05);

	/* Temperature sensor */
	spi_write_cmd(0x18);
	spi_write_data(0x80);

	/* Display update control */
	spi_write_cmd(0x22);
	spi_write_data(0xB1);

	/* Master activation */
	spi_write_cmd(0x20);
	if (!wait_busy(2000)) return false;

	/* Try to clear display to white */
	LOG_INF("Clearing display to WHITE...");

	spi_write_cmd(0x24);  /* Write RAM (black/white) */
	for (int i = 0; i < 128 * 296 / 8; i++) {
		spi_write_data(0xFF);  /* White */
	}

	/* Update display */
	spi_write_cmd(0x22);
	spi_write_data(0xC7);
	spi_write_cmd(0x20);

	LOG_INF("Waiting for display update...");
	if (!wait_busy(5000)) return false;

	LOG_INF("✓ UC8151D initialization completed!");
	LOG_INF("  Check if display shows WHITE");
	LOG_INF("");

	k_sleep(K_SECONDS(3));

	/* Try to clear display to black */
	LOG_INF("Clearing display to BLACK...");

	spi_write_cmd(0x24);  /* Write RAM (black/white) */
	for (int i = 0; i < 128 * 296 / 8; i++) {
		spi_write_data(0x00);  /* Black */
	}

	spi_write_cmd(0x22);
	spi_write_data(0xC7);
	spi_write_cmd(0x20);

	if (!wait_busy(5000)) return false;

	LOG_INF("✓ UC8151D black test completed!");
	LOG_INF("");

	return true;
}

/* ═══════════════════════════════════════════════════════════════════
 * SSD1680 Controller Test (SSD16XX family)
 * ═══════════════════════════════════════════════════════════════════ */
bool test_ssd1680(void)
{
	LOG_INF("╔════════════════════════════════════════════════════════╗");
	LOG_INF("║ TEST 2: SSD1680 Controller (SSD16XX)                  ║");
	LOG_INF("╚════════════════════════════════════════════════════════╝");
	LOG_INF("");

	hardware_reset();

	LOG_INF("Sending SSD1680 initialization sequence...");

	/* Software reset */
	spi_write_cmd(0x12);
	k_msleep(10);
	if (!wait_busy(2000)) return false;

	/* Driver output control */
	spi_write_cmd(0x01);
	spi_write_data(0x27);
	spi_write_data(0x01);
	spi_write_data(0x00);

	/* Data entry mode */
	spi_write_cmd(0x11);
	spi_write_data(0x01);

	/* Set RAM X address */
	spi_write_cmd(0x44);
	spi_write_data(0x00);
	spi_write_data(0x0F);

	/* Set RAM Y address */
	spi_write_cmd(0x45);
	spi_write_data(0x27);
	spi_write_data(0x01);
	spi_write_data(0x00);
	spi_write_data(0x00);

	/* Border waveform */
	spi_write_cmd(0x3C);
	spi_write_data(0x01);

	/* Temperature sensor control */
	spi_write_cmd(0x18);
	spi_write_data(0x80);

	/* Display update control */
	spi_write_cmd(0x21);
	spi_write_data(0x00);
	spi_write_data(0x80);

	/* Master activation */
	spi_write_cmd(0x20);
	if (!wait_busy(2000)) return false;

	/* Clear to white */
	LOG_INF("Clearing display to WHITE...");

	spi_write_cmd(0x24);
	for (int i = 0; i < 128 * 296 / 8; i++) {
		spi_write_data(0xFF);
	}

	spi_write_cmd(0x22);
	spi_write_data(0xF7);
	spi_write_cmd(0x20);

	LOG_INF("Waiting for display update...");
	if (!wait_busy(5000)) return false;

	LOG_INF("✓ SSD1680 initialization completed!");
	LOG_INF("  Check if display shows WHITE");
	LOG_INF("");

	k_sleep(K_SECONDS(3));

	/* Clear to black */
	LOG_INF("Clearing display to BLACK...");

	spi_write_cmd(0x24);
	for (int i = 0; i < 128 * 296 / 8; i++) {
		spi_write_data(0x00);
	}

	spi_write_cmd(0x22);
	spi_write_data(0xF7);
	spi_write_cmd(0x20);

	if (!wait_busy(5000)) return false;

	LOG_INF("✓ SSD1680 black test completed!");
	LOG_INF("");

	return true;
}

/* ═══════════════════════════════════════════════════════════════════
 * IL0373 Controller Test
 * ═══════════════════════════════════════════════════════════════════ */
bool test_il0373(void)
{
	LOG_INF("╔════════════════════════════════════════════════════════╗");
	LOG_INF("║ TEST 3: IL0373 Controller                             ║");
	LOG_INF("╚════════════════════════════════════════════════════════╝");
	LOG_INF("");

	hardware_reset();

	LOG_INF("Sending IL0373 initialization sequence...");

	/* Power setting */
	spi_write_cmd(0x01);
	spi_write_data(0x03);
	spi_write_data(0x00);
	spi_write_data(0x2B);
	spi_write_data(0x2B);
	spi_write_data(0x09);

	/* Booster soft start */
	spi_write_cmd(0x06);
	spi_write_data(0x17);
	spi_write_data(0x17);
	spi_write_data(0x17);

	/* Power on */
	spi_write_cmd(0x04);
	k_msleep(100);
	if (!wait_busy(2000)) return false;

	/* Panel setting */
	spi_write_cmd(0x00);
	spi_write_data(0xBF);  /* KW mode */

	/* PLL control */
	spi_write_cmd(0x30);
	spi_write_data(0x3C);

	/* Resolution */
	spi_write_cmd(0x61);
	spi_write_data(0x80);  /* 128 */
	spi_write_data(0x01);
	spi_write_data(0x28);  /* 296 */

	/* VCM DC setting */
	spi_write_cmd(0x82);
	spi_write_data(0x12);

	/* VCOM and data interval */
	spi_write_cmd(0x50);
	spi_write_data(0x97);

	LOG_INF("Clearing display to WHITE...");

	/* Write black/white RAM */
	spi_write_cmd(0x10);
	for (int i = 0; i < 128 * 296 / 8; i++) {
		spi_write_data(0xFF);
	}

	/* Display refresh */
	spi_write_cmd(0x12);
	k_msleep(100);

	LOG_INF("Waiting for display update...");
	if (!wait_busy(5000)) return false;

	LOG_INF("✓ IL0373 initialization completed!");
	LOG_INF("  Check if display shows WHITE");
	LOG_INF("");

	k_sleep(K_SECONDS(3));

	/* Clear to black */
	LOG_INF("Clearing display to BLACK...");

	spi_write_cmd(0x10);
	for (int i = 0; i < 128 * 296 / 8; i++) {
		spi_write_data(0x00);
	}

	spi_write_cmd(0x12);
	k_msleep(100);

	if (!wait_busy(5000)) return false;

	LOG_INF("✓ IL0373 black test completed!");
	LOG_INF("");

	return true;
}

int main(void)
{
	LOG_INF("");
	LOG_INF("╔════════════════════════════════════════════════════════╗");
	LOG_INF("║     E-Paper Controller Detection                       ║");
	LOG_INF("║     2.9\" Display (128×296)                             ║");
	LOG_INF("╚════════════════════════════════════════════════════════╝");
	LOG_INF("");

	/* Initialize GPIO */
	gpio1 = DEVICE_DT_GET(GPIO1_NODE);
	if (!device_is_ready(gpio1)) {
		LOG_ERR("GPIO1 not ready!");
		return -1;
	}

	gpio_pin_configure(gpio1, RES_PIN, GPIO_OUTPUT_HIGH);
	gpio_pin_configure(gpio1, DC_PIN, GPIO_OUTPUT_LOW);
	gpio_pin_configure(gpio1, CS_PIN, GPIO_OUTPUT_HIGH);
	gpio_pin_configure(gpio1, BUSY_PIN, GPIO_INPUT);

	/* Initialize SPI */
	spi1 = DEVICE_DT_GET(SPI1_NODE);
	if (!device_is_ready(spi1)) {
		LOG_ERR("SPI1 not ready!");
		return -1;
	}

	LOG_INF("✓ GPIO and SPI initialized");
	LOG_INF("");
	LOG_INF("Testing 3 controllers:");
	LOG_INF("  1. UC8151D (most common for WeAct 2.9\")");
	LOG_INF("  2. SSD1680 (SSD16XX family)");
	LOG_INF("  3. IL0373");
	LOG_INF("");
	LOG_INF("WATCH YOUR DISPLAY for changes during each test!");
	LOG_INF("");

	k_sleep(K_SECONDS(2));

	/* Test all controllers */
	bool uc8151d_works = test_uc8151d();
	k_sleep(K_SECONDS(3));

	bool ssd1680_works = test_ssd1680();
	k_sleep(K_SECONDS(3));

	bool il0373_works = test_il0373();
	k_sleep(K_SECONDS(2));

	/* Summary */
	LOG_INF("");
	LOG_INF("╔════════════════════════════════════════════════════════╗");
	LOG_INF("║ DETECTION RESULTS                                      ║");
	LOG_INF("╚════════════════════════════════════════════════════════╝");
	LOG_INF("");
	LOG_INF("Controller Test Results:");
	LOG_INF("  UC8151D: %s", uc8151d_works ? "✓ SUCCESS" : "✗ FAILED");
	LOG_INF("  SSD1680: %s", ssd1680_works ? "✓ SUCCESS" : "✗ FAILED");
	LOG_INF("  IL0373:  %s", il0373_works ? "✓ SUCCESS" : "✗ FAILED");
	LOG_INF("");
	LOG_INF("Which controller showed changes on the display?");
	LOG_INF("");

	if (uc8151d_works) {
		LOG_INF("✓ Your display likely uses UC8151D");
		LOG_INF("  This is the most common controller for WeAct 2.9\"");
	} else if (ssd1680_works) {
		LOG_INF("✓ Your display likely uses SSD1680");
	} else if (il0373_works) {
		LOG_INF("✓ Your display likely uses IL0373");
	} else {
		LOG_ERR("No controller responded successfully");
		LOG_ERR("Possible issues:");
		LOG_ERR("  - Different controller variant");
		LOG_ERR("  - Wrong display resolution");
		LOG_ERR("  - Hardware issue");
	}

	LOG_INF("");
	LOG_INF("Test complete!");

	while (1) {
		k_sleep(K_SECONDS(60));
	}

	return 0;
}
```

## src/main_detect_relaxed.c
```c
/*
 * E-Paper Controller Detection - Relaxed BUSY timing
 * Tests controllers without strict BUSY pin requirements
 */

#include <zephyr/kernel.h>
#include <zephyr/drivers/gpio.h>
#include <zephyr/drivers/spi.h>
#include <zephyr/logging/log.h>

LOG_MODULE_REGISTER(epd_detect_relax, LOG_LEVEL_INF);

/* Pin definitions */
#define GPIO1_NODE DT_NODELABEL(gpio1)
#define SPI1_NODE DT_NODELABEL(spi1)

#define RES_PIN    11
#define DC_PIN     10
#define BUSY_PIN   8
#define CS_PIN     12

#define EPD_WIDTH  128
#define EPD_HEIGHT 296

static const struct device *gpio1;
static const struct device *spi1;

struct spi_config spi_cfg = {
	.frequency = 2000000,
	.operation = SPI_OP_MODE_MASTER | SPI_TRANSFER_MSB | SPI_WORD_SET(8),
	.slave = 0,
};

void spi_write_cmd(uint8_t cmd)
{
	gpio_pin_set(gpio1, DC_PIN, 0);
	gpio_pin_set(gpio1, CS_PIN, 0);
	struct spi_buf tx_buf = { .buf = &cmd, .len = 1 };
	struct spi_buf_set tx = { .buffers = &tx_buf, .count = 1 };
	spi_write(spi1, &spi_cfg, &tx);
	gpio_pin_set(gpio1, CS_PIN, 1);
}

void spi_write_data(uint8_t data)
{
	gpio_pin_set(gpio1, DC_PIN, 1);
	gpio_pin_set(gpio1, CS_PIN, 0);
	struct spi_buf tx_buf = { .buf = &data, .len = 1 };
	struct spi_buf_set tx = { .buffers = &tx_buf, .count = 1 };
	spi_write(spi1, &spi_cfg, &tx);
	gpio_pin_set(gpio1, CS_PIN, 1);
}

void hardware_reset(void)
{
	gpio_pin_set(gpio1, RES_PIN, 0);
	k_msleep(200);
	gpio_pin_set(gpio1, RES_PIN, 1);
	k_msleep(200);
}

void fill_screen(uint8_t color)
{
	for (uint32_t i = 0; i < EPD_WIDTH * EPD_HEIGHT / 8; i++) {
		spi_write_data(color);
	}
}

/* Test with FIXED delays instead of BUSY checking */
void test_uc8151d(void)
{
	LOG_INF("TEST 1: UC8151D");
	hardware_reset();

	spi_write_cmd(0x12); /* SW reset */
	k_msleep(100);

	spi_write_cmd(0x01); /* Driver output */
	spi_write_data(0x27); spi_write_data(0x01); spi_write_data(0x00);

	spi_write_cmd(0x11); /* Data entry mode */
	spi_write_data(0x03);

	spi_write_cmd(0x44); /* Set RAM X */
	spi_write_data(0x00); spi_write_data(0x0F);

	spi_write_cmd(0x45); /* Set RAM Y */
	spi_write_data(0x00); spi_write_data(0x00);
	spi_write_data(0x27); spi_write_data(0x01);

	spi_write_cmd(0x3C); /* Border */
	spi_write_data(0x05);

	spi_write_cmd(0x18); /* Temperature */
	spi_write_data(0x80);

	spi_write_cmd(0x22); /* Display update control */
	spi_write_data(0xB1);

	spi_write_cmd(0x20); /* Master activation */
	k_msleep(100);

	LOG_INF("  Writing WHITE to display...");
	spi_write_cmd(0x24);
	fill_screen(0xFF);

	spi_write_cmd(0x22);
	spi_write_data(0xC7);
	spi_write_cmd(0x20);

	LOG_INF("  Waiting 3 seconds for update...");
	k_msleep(3000);
	LOG_INF("  Done");
}

void test_ssd1680(void)
{
	LOG_INF("TEST 2: SSD1680");
	hardware_reset();

	spi_write_cmd(0x12);
	k_msleep(100);

	spi_write_cmd(0x01);
	spi_write_data(0x27); spi_write_data(0x01); spi_write_data(0x00);

	spi_write_cmd(0x11);
	spi_write_data(0x01);

	spi_write_cmd(0x44);
	spi_write_data(0x00); spi_write_data(0x0F);

	spi_write_cmd(0x45);
	spi_write_data(0x27); spi_write_data(0x01);
	spi_write_data(0x00); spi_write_data(0x00);

	spi_write_cmd(0x3C);
	spi_write_data(0x01);

	spi_write_cmd(0x18);
	spi_write_data(0x80);

	spi_write_cmd(0x21);
	spi_write_data(0x00); spi_write_data(0x80);

	spi_write_cmd(0x20);
	k_msleep(100);

	LOG_INF("  Writing WHITE to display...");
	spi_write_cmd(0x24);
	fill_screen(0xFF);

	spi_write_cmd(0x22);
	spi_write_data(0xF7);
	spi_write_cmd(0x20);

	LOG_INF("  Waiting 3 seconds for update...");
	k_msleep(3000);
	LOG_INF("  Done");
}

void test_il0373(void)
{
	LOG_INF("TEST 3: IL0373");
	hardware_reset();

	spi_write_cmd(0x01);
	spi_write_data(0x03); spi_write_data(0x00);
	spi_write_data(0x2B); spi_write_data(0x2B);
	spi_write_data(0x09);

	spi_write_cmd(0x06);
	spi_write_data(0x17); spi_write_data(0x17); spi_write_data(0x17);

	spi_write_cmd(0x04);
	k_msleep(200);

	spi_write_cmd(0x00);
	spi_write_data(0xBF);

	spi_write_cmd(0x30);
	spi_write_data(0x3C);

	spi_write_cmd(0x61);
	spi_write_data(0x80); spi_write_data(0x01); spi_write_data(0x28);

	spi_write_cmd(0x82);
	spi_write_data(0x12);

	spi_write_cmd(0x50);
	spi_write_data(0x97);

	LOG_INF("  Writing WHITE to display...");
	spi_write_cmd(0x10);
	fill_screen(0xFF);

	spi_write_cmd(0x12);
	LOG_INF("  Waiting 3 seconds for update...");
	k_msleep(3000);
	LOG_INF("  Done");
}

int main(void)
{
	LOG_INF("");
	LOG_INF("╔════════════════════════════════════════════════════════╗");
	LOG_INF("║  E-Paper Controller Detection (Relaxed Timing)         ║");
	LOG_INF("╚════════════════════════════════════════════════════════╝");
	LOG_INF("");
	LOG_INF("This test ignores BUSY pin timeouts");
	LOG_INF("Just sends commands and waits fixed time");
	LOG_INF("");
	LOG_INF("WATCH THE DISPLAY - which test makes it change?");
	LOG_INF("");

	gpio1 = DEVICE_DT_GET(GPIO1_NODE);
	spi1 = DEVICE_DT_GET(SPI1_NODE);

	gpio_pin_configure(gpio1, RES_PIN, GPIO_OUTPUT_HIGH);
	gpio_pin_configure(gpio1, DC_PIN, GPIO_OUTPUT_LOW);
	gpio_pin_configure(gpio1, CS_PIN, GPIO_OUTPUT_HIGH);
	gpio_pin_configure(gpio1, BUSY_PIN, GPIO_INPUT);

	k_sleep(K_SECONDS(2));

	LOG_INF("═══════════════════════════════════════════════════════");
	test_uc8151d();
	k_sleep(K_SECONDS(2));

	LOG_INF("═══════════════════════════════════════════════════════");
	test_ssd1680();
	k_sleep(K_SECONDS(2));

	LOG_INF("═══════════════════════════════════════════════════════");
	test_il0373();
	k_sleep(K_SECONDS(2));

	LOG_INF("");
	LOG_INF("╔════════════════════════════════════════════════════════╗");
	LOG_INF("║  ALL TESTS COMPLETE                                    ║");
	LOG_INF("╚════════════════════════════════════════════════════════╝");
	LOG_INF("");
	LOG_INF("WHICH TEST MADE THE DISPLAY CHANGE?");
	LOG_INF("  Test 1 = UC8151D");
	LOG_INF("  Test 2 = SSD1680");
	LOG_INF("  Test 3 = IL0373");
	LOG_INF("");
	LOG_INF("Tell me which one worked!");

	while (1) {
		k_sleep(K_SECONDS(60));
	}

	return 0;
}
```
